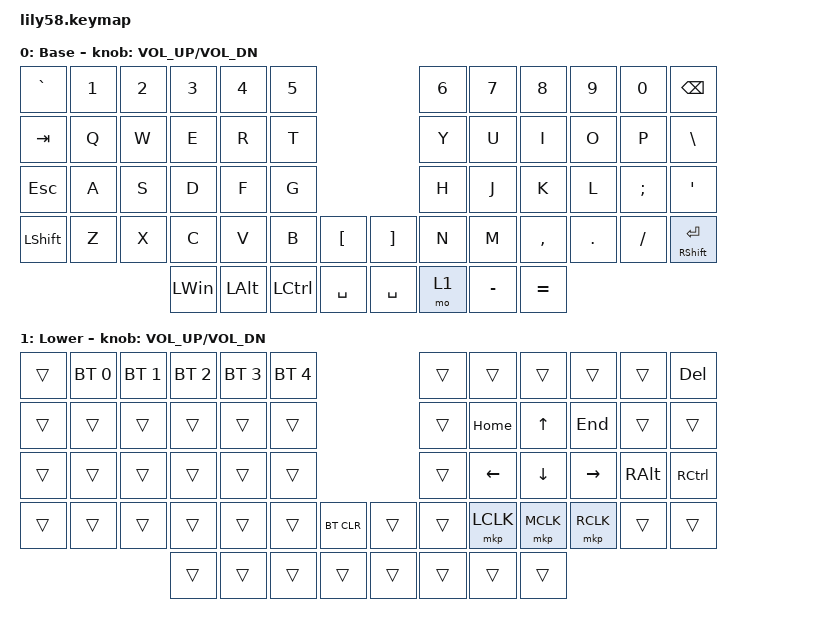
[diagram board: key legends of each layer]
#include <behaviors.dtsi>
#include <dt-bindings/zmk/keys.h>
#include <dt-bindings/zmk/bt.h>
#include <dt-bindings/zmk/ext_power.h>
#include <dt-bindings/zmk/pointing.h>

/ {
    keymap {
        compatible = "zmk,keymap";

        default_layer {
// --------------------------------------------------------------------------------------------------------
// |  `~   |  1  |  2  |  3  |  4  |  5   |                   |  6   |  7   |  8   |  9   |   0   |  BACK |
// | TAB   |  Q  |  W  |  E  |  R  |  T   |                   |  Y   |  U   |  I   |  O   |   P   |  \|   |
// | ESC   |  A  |  S  |  D  |  F  |  G   |                   |  H   |  J   |  K   |  L   |   ;:  |  '"   |
// | SHIFT |  Z  |  X  |  C  |  V  |  B   |    [{  |  |  }]   |  N   |  M   |  ,<  |  .>  |   /?  | SHIFT(hold)RET(tap) |
//                     | WIN | ALT | CTRL |  SPACE |  | SPACE | LAYR |  -_  |  +=  |
            display-name = "Base";
            bindings = <
&kp GRAVE &kp N1 &kp N2 &kp N3    &kp N4   &kp N5                         &kp N6 &kp N7    &kp N8    &kp N9  &kp N0   &kp BSPC
&kp TAB   &kp Q  &kp W  &kp E     &kp R    &kp T                          &kp Y  &kp U     &kp I     &kp O   &kp P    &kp BSLH
&kp ESC   &kp A  &kp S  &kp D     &kp F    &kp G                          &kp H  &kp J     &kp K     &kp L   &kp SEMI &kp APOS
&kp LSHFT &kp Z  &kp X  &kp C     &kp V    &kp B     &kp LBKT   &kp RBKT  &kp N  &kp M     &kp COMMA &kp DOT &kp FSLH &mt RSHFT RET
                        &kp LWIN  &kp LALT &kp LCTRL &kp SPACE  &kp SPACE &mo 1  &kp MINUS &kp EQUAL
            >;
            sensor-bindings = <&inc_dec_kp C_VOL_UP C_VOL_DN>;
        };
        lower_layer {
// ----------------------------------------------------------------------------------------------------
// |    | BT1 | BT2 |  BT3 |  BT4 |  BT5  |                    |     |      |     |     |      | DEL  |
// |    |     |     |      |      |       |                    |     | HOME |  ↑  | END |      |      |
// |    |     |     |      |      |       |                    |     |  ←   |  ↓  |  →  | Alt  | Ctrl |
// |    |     |     |      |      |       |  BT_CLR |  |       |     | LMB  | MMB | RMB |      |      |
//                  |      |      |       |         |  |       |     |      |     |
            display-name = "Lower";
            bindings = <
&trans &bt BT_SEL 0 &bt BT_SEL 1 &bt BT_SEL 2 &bt BT_SEL 3 &bt BT_SEL 4                    &trans &trans    &trans    &trans    &trans   &kp DEL
&trans &trans       &trans       &trans       &trans       &trans                          &trans &kp HOME  &kp UP    &kp END   &trans   &trans
&trans &trans       &trans       &trans       &trans       &trans                          &trans &kp LEFT  &kp DOWN  &kp RIGHT &kp RALT &kp RCTRL
&trans &trans       &trans       &trans       &trans       &trans       &bt BT_CLR  &trans &trans &mkp LCLK &mkp MCLK &mkp RCLK &trans   &trans
                                 &trans       &trans       &trans       &trans      &trans &trans &trans    &trans
            >;
            sensor-bindings = <&inc_dec_kp C_VOL_UP C_VOL_DN>;
        };

        // extra layers ignored during ZMK builds but available for ZMK Studio-enabled builds
        extra_1 {
            status = "reserved";
        };
        extra_2 {
            status = "reserved";
        };
    };
};

// https://zmk.dev/docs/keymaps
// https://zmk.dev/docs/keymaps/list-of-keycodes

// key behaviors
// &kp A = keypress A
// &mt LSHFT A = mod-tap (shift if held, A if tapped) https://zmk.dev/docs/keymaps/behaviors/hold-tap#mod-tap
// &sk LSHFT = sticky key (hold until another key is pressed)

// keycodes 
// LWIN=LGUI=Windows Button
// GRAVE=`("grave accent") APOS=apostrophe LPAR=( LBKT=[ DOT=.
// SPC=space FSLH=/ SEMI=; BSPC=backspace BSLH=backslash RET=enter
// &mkp = mouse key press, &mmv = mouse move, &msc = mouse scroll

// layers
// default_layer = layer 0, lower_one = layer 1
// &mo  1 = momentary layer 1 (activate layer 1 while key is pressed)
// &sl  1 =    sticky layer 1 (activate layer 1 until next key pressed, or until release-after-ms is elapsed) https://zmk.dev/docs/keymaps/behaviors/sticky-layer
// &tog 1 =    toggle layer 1 (activate layer 1 until pressed again)
// &trans =       transparent (pass key press down to next layer in stack)
// &none  =      no key press (do not pass to next active layer either)

// bluetooth
// &bt BT_SEL 0 = select 1st bluetooth profile (i.e. connect to 1st device) (0-4)
// &bt BTCLR    = clear selected profile (make sure to delete it from the computer too)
